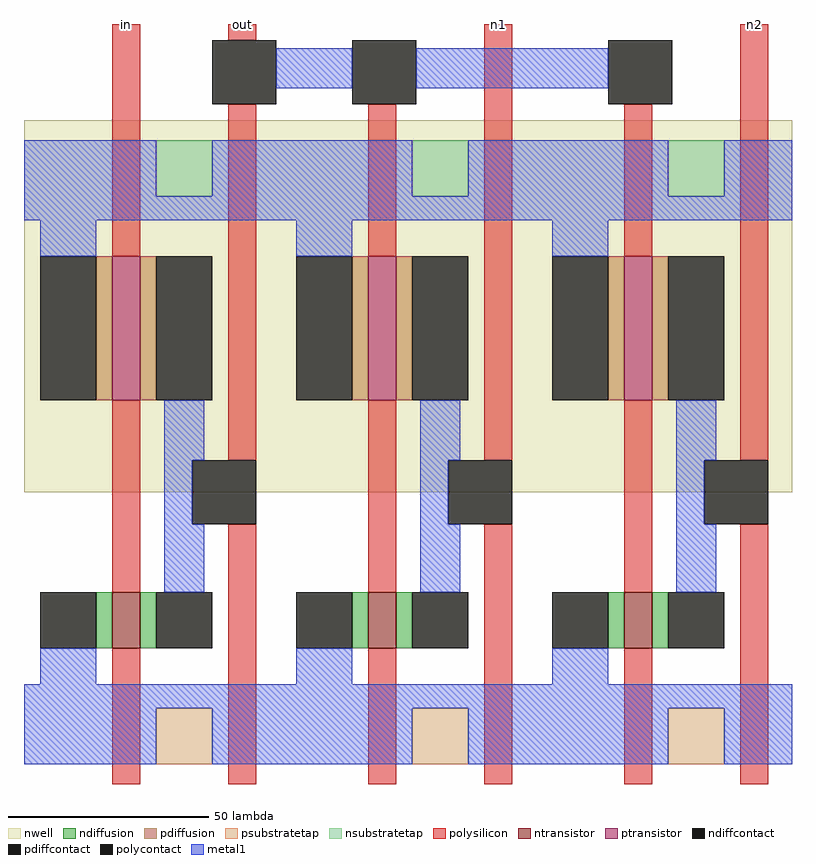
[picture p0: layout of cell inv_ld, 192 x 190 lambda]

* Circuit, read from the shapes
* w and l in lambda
.subckt inv_ld GND! Vdd! in n1 n2 out
M1 out in GND! VSUBS nfet w=14 l=7
M2 n1 out GND! VSUBS nfet w=14 l=7
M3 n2 out GND! VSUBS nfet w=14 l=7
M4 out in Vdd! n3 pfet w=36 l=7
M5 n1 out Vdd! n3 pfet w=36 l=7
M6 n2 out Vdd! n3 pfet w=36 l=7
.ends

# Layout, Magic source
magic
tech c35b4
<< polysilicon >>
rect 22 166 29 190
rect 51 186 58 190
rect 51 166 58 170
rect 86 166 93 170
rect 115 166 122 190
rect 150 166 157 170
rect 179 166 186 190
<< polycontact >>
rect 47 170 63 186
rect 82 170 98 186
rect 146 170 162 186
<< metal1 >>
rect 63 174 82 184
rect 98 174 146 184
use inv  inv_0
transform 1 0 0 0 1 0
box 0 0 64 166
use inv  inv_1
transform 1 0 64 0 1 0
box 0 0 64 166
use inv  inv_2
transform 1 0 128 0 1 0
box 0 0 64 166
<< labels >>
rlabel polysilicon 22 190 29 190 1 in
rlabel polysilicon 51 190 58 190 1 out
rlabel polysilicon 115 190 122 190 1 n1
rlabel polysilicon 179 190 186 190 1 n2
<< end >>

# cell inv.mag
magic
tech c35b4
<< nwell >>
rect 0 73 64 166
<< polysilicon >>
rect 22 132 29 166
rect 22 48 29 96
rect 51 81 58 166
rect 22 0 29 34
rect 51 0 58 65
<< ndiffusion >>
rect 18 34 22 48
rect 29 34 33 48
<< pdiffusion >>
rect 18 96 22 132
rect 29 96 33 132
<< ntransistor >>
rect 22 34 29 48
<< ptransistor >>
rect 22 96 29 132
<< polycontact >>
rect 42 65 58 81
<< ndiffcontact >>
rect 4 34 18 48
rect 33 34 47 48
<< pdiffcontact >>
rect 4 96 18 132
rect 33 96 47 132
<< psubstratetap >>
rect 33 5 47 19
<< nsubstratetap >>
rect 33 147 47 161
<< metal1 >>
rect 0 147 33 161
rect 47 147 64 161
rect 0 141 64 147
rect 4 132 18 141
rect 35 81 45 96
rect 35 65 42 81
rect 35 48 45 65
rect 4 25 18 34
rect 0 19 64 25
rect 0 5 33 19
rect 47 5 64 19
<< labels >>
rlabel metal1 0 141 0 161 3 Vdd!
rlabel metal1 0 5 0 25 3 GND!
rlabel metal1 64 5 64 25 7 GND!
rlabel polysilicon 22 166 29 166 5 in
rlabel polysilicon 51 166 58 166 5 out
rlabel polysilicon 22 0 29 0 1 in
rlabel polysilicon 51 0 58 0 1 out
rlabel metal1 64 141 64 161 7 Vdd!
<< end >>
